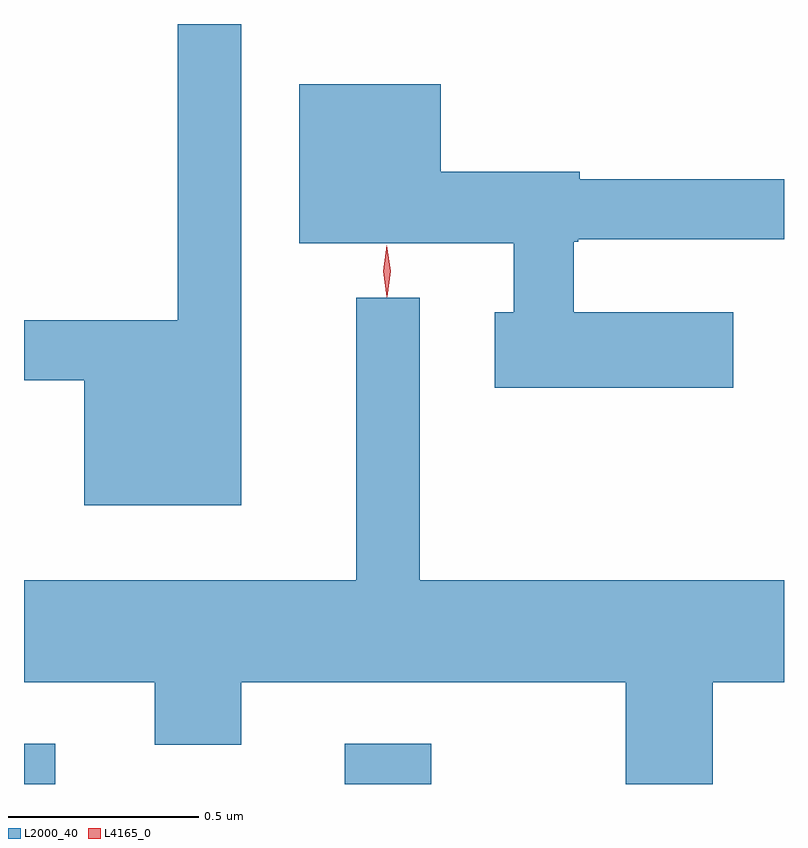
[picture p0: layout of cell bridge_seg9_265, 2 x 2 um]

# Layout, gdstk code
import gdstk
lib = gdstk.Library(unit=1e-6, precision=1e-09)
def R(c, l, rs):  # rectangles x0, y0, x1, y1
    for r in rs: c.add(gdstk.rectangle(r[:2], r[2:], *l))
def P(c, l, *ps):  # polygons
    for p in ps: c.add(gdstk.Polygon(p, *l))
L2000_40 = (2000, 40)
L4165_0 = (4165, 0)

bridge_seg9_265 = lib.new_cell('bridge_seg9_265')
R(bridge_seg9_265, L2000_40, [(1285.177,1944.928,1285.259,1945.034), (1286.021,1944.928,1286.249,1945.034)])
P(bridge_seg9_265, L2000_40, [(1285.749,1946.928),(1285.581,1946.928),(1285.581,1946.149),(1285.177,1946.149),(1285.177,1945.991),(1285.336,1945.991),(1285.336,1945.661),(1285.749,1945.661)],
  [(1287.044,1946.169),(1286.624,1946.169),(1286.624,1946.355),(1286.635,1946.355),(1286.635,1946.361),(1287.177,1946.361),(1287.177,1946.519),(1286.639,1946.519),(1286.639,1946.539),(1286.274,1946.539),(1286.274,1946.769),(1285.901,1946.769),(1285.901,1946.351),(1286.466,1946.351),(1286.466,1946.169),(1286.416,1946.169),(1286.416,1945.971),(1287.044,1945.971)],
  [(1286.989,1945.196),(1287.177,1945.196),(1287.177,1945.464),(1286.219,1945.464),(1286.219,1946.208),(1286.051,1946.208),(1286.051,1945.464),(1285.177,1945.464),(1285.177,1945.196),(1285.521,1945.196),(1285.521,1945.031),(1285.749,1945.031),(1285.749,1945.196),(1286.761,1945.196),(1286.761,1944.928),(1286.989,1944.928)])
P(bridge_seg9_265, L4165_0, [(1286.132,1946.209),(1286.132,1946.21),(1286.122,1946.278),(1286.131,1946.346),(1286.131,1946.346),(1286.132,1946.346),(1286.142,1946.278),(1286.133,1946.21)],
  [(1286.132,1946.213),(1286.132,1946.213),(1286.122,1946.277),(1286.131,1946.34),(1286.131,1946.341),(1286.132,1946.34),(1286.142,1946.277),(1286.133,1946.213)])

lib.write_gds('bridge_seg9_265.gds')
